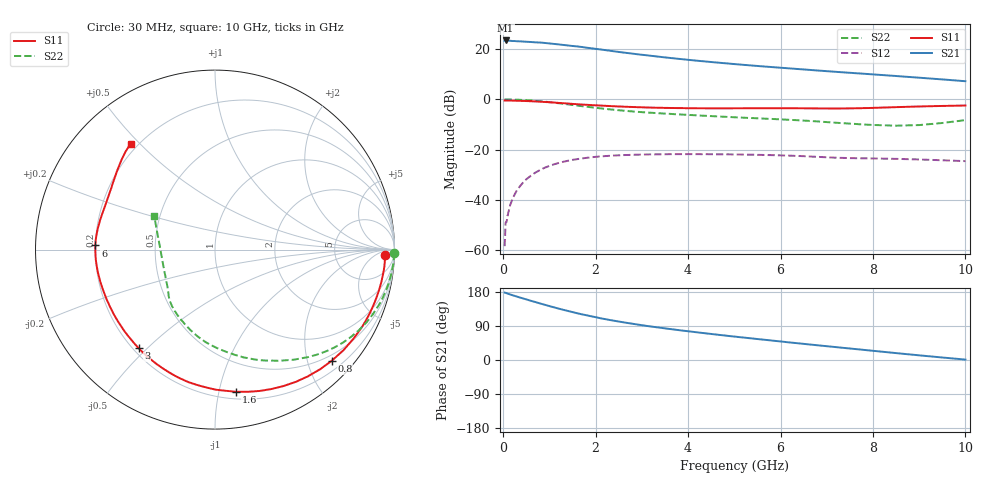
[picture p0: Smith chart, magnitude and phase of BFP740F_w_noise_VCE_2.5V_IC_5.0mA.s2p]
! Infineon Technologies  Discrete & RF Semiconductors
! BFP740F
! VCE =  2.5 V,  IC =  5.0 mA
! Common Emitter S-Parameters:  Oct 2012
# GHz  S  MA  R  50
!  f  S11  S21  S12  S22
! GHz  MAG  ANG  MAG  ANG  MAG  ANG  MAG  ANG
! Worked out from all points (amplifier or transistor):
!   99 points, 30 MHz to 10 GHz, reference 50 ohm
!   highest |S21| = 23.4 dB at 50 MHz (marker M1)
!   |S21| within 3 dB of that: start of sweep to 1.856 GHz
!   unconditionally stable (mu >= 1): 7.546 GHz to end of sweep
!   at 350 MHz: K = 0.04, MSG = 29.0 dB, |S12| = -34.8 dB
!   at 3.5 GHz: K = 0.33, MSG = 19.3 dB, |S12| = -21.8 dB
!   at 10 GHz: K = 1.29, MAG = 12.7 dB, |S12| = -24.6 dB
!   lowest NFmin = 0.37 dB at 450 MHz
!   S11 on the Smith chart (normalised r, x): 30 MHz: 29, -17; 800 MHz: 0.38, -2.45; 1.6 GHz: 0.25, -1.12; 3 GHz: 0.22, -0.47; 6 GHz: 0.20, +0.02; 10 GHz: 0.17, +0.47
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0.03  0.9497 -1.7  14.72 177.9  0.0012 82.1  0.9978 -1.1
0.05  0.9492 -2.7  14.86 177.3  0.0035 83.6  0.9985 -1.9
0.1  0.9484 -5.7  14.79 175.1  0.0049 89.7  0.997 -3.8
0.2  0.9442 -11.2  14.48 171.0  0.0104 84.0  0.992 -7.6
0.35  0.9355 -19.4  14.28 165.3  0.0181 78.1  0.9805 -13.2
0.6  0.9173 -32.9  13.84 156.2  0.0304 70.2  0.9504 -22.3
0.8  0.8982 -43.6  13.52 149.1  0.0394 63.7  0.9187 -29.3
1  0.8757 -53.7  12.97 142.2  0.0475 57.4  0.8802 -36.2
1.2  0.8505 -63.4  12.39 135.6  0.0542 51.5  0.8375 -42.7
1.6  0.8006 -81.7  11.31 123.4  0.0647 41.3  0.753 -54.6
1.7  0.7882 -85.9  11.02 120.6  0.0667 39.0  0.7325 -57.3
2.1  0.7533 -101.2  9.852 110.3  0.0732 30.6  0.6624 -68.3
2.3  0.7366 -108.0  9.309 105.7  0.0753 26.9  0.6326 -73.0
2.6  0.7161 -116.9  8.544 99.5  0.0778 22.1  0.5964 -79.4
3  0.695 -127.8  7.715 91.9  0.0798 16.7  0.5568 -87.0
3.4  0.68 -137.3  7.002 85.1  0.0808 12.0  0.5274 -93.6
4.1  0.6663 -151.5  5.998 74.4  0.0813 5.2  0.4855 -103.0
5.1  0.6647 -169.0  4.953 60.5  0.08 -2.8  0.436 -115.2
6  0.6668 178.0  4.26 49.0  0.0768 -9.0  0.3998 -125.9
6.7  0.6613 167.2  3.815 40.1  0.0725 -12.7  0.3687 -134.1
8.5  0.7002 141.2  2.915 18.2  0.0655 -15.8  0.2995 -168.6
10  0.7539 128.6  2.296 1.1  0.059 -18.2  0.3862 151.2
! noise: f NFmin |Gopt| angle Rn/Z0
0.45  0.37  0.38  7  0.2
0.9  0.42  0.38  14  0.17
1.5  0.5  0.37  24  0.14
1.9  0.55  0.35  33  0.14
2.4  0.61  0.33  42  0.13
3.5  0.76  0.31  65  0.12
5.5  1.02  0.2  113  0.15
10  1.55  0.42  -127  0.08
